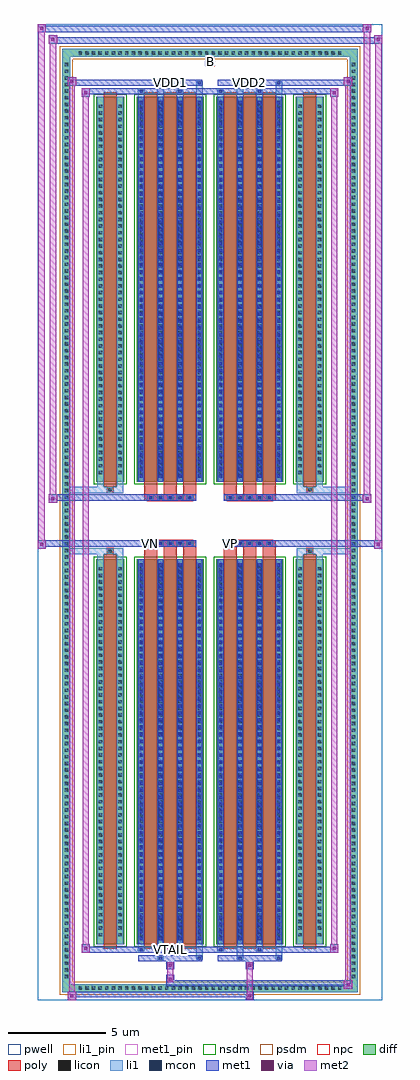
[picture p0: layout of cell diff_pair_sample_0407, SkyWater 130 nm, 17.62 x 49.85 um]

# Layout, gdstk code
import gdstk
lib = gdstk.Library(unit=1e-6, precision=5e-09)
def R(c, l, rs):  # rectangles x0, y0, x1, y1
    for r in rs: c.add(gdstk.rectangle(r[:2], r[2:], *l))
def A(c, l, x, y, w, h, nx, ny, dx, dy):  # array of equal rectangles
    R(c, l, [(x+i*dx, y+j*dy, x+i*dx+w, y+j*dy+h) for i in range(nx) for j in range(ny)])
def P(c, l, *ps):  # polygons
    for p in ps: c.add(gdstk.Polygon(p, *l))
pwell = (64, 44)
diff = (65, 20)
poly = (66, 20)
licon = (66, 44)
li1_pin = (67, 16)
li1 = (67, 20)
mcon = (67, 44)
met1_pin = (68, 16)
met1 = (68, 20)
via = (68, 44)
met2 = (69, 20)
nsdm = (93, 44)
psdm = (94, 20)
npc = (95, 20)

diff_pair_sample_0407 = lib.new_cell('diff_pair_sample_0407')
R(diff_pair_sample_0407, pwell, [(-8.81,-24.49,8.81,25.36), (-6.13,-22.68,-0.01,-0.8), (0.01,-22.68,6.13,-0.8), (-6.13,0.8,-0.01,22.68), (0.01,0.8,6.13,22.68)])
A(diff_pair_sample_0407, diff, -6.835, -24.09, 0.41, 0.41, 40, 2, 0.34, 47.77)
A(diff_pair_sample_0407, diff, -7.54, -23.495, 0.41, 0.41, 1, 138, 0, 0.34)
A(diff_pair_sample_0407, diff, 7.13, -23.495, 0.41, 0.41, 1, 138, 0, 0.34)
R(diff_pair_sample_0407, diff, [(-6.835,-24.09,6.835,-23.68), (-7.54,-23.495,-7.13,23.495), (7.13,-23.495,7.54,23.495), (-5.82,-21.635,-4.38,-1.985), (-3.74,-21.635,-0.32,-1.985), (0.32,-21.635,3.74,-1.985), (4.38,-21.635,5.82,-1.985), (-5.82,1.985,-4.38,21.635), (-3.74,1.985,-0.32,21.635), (0.32,1.985,3.74,21.635), (4.38,1.985,5.82,21.635), (-6.835,23.68,6.835,24.09)])
P(diff_pair_sample_0407, diff, [(7.54,24.09),(-7.54,24.09),(-7.54,-23.68),(-7.13,-23.68),(-7.13,23.68),(7.13,23.68),(7.13,-23.68),(-7.13,-23.68),(-7.54,-23.68),(-7.54,-24.09),(7.54,-24.09)])
A(diff_pair_sample_0407, poly, -3.35, -21.885, 0.66, 20.15, 3, 2, 0.99, 23.62)
A(diff_pair_sample_0407, poly, 0.71, -21.885, 0.66, 20.15, 3, 2, 0.99, 23.62)
A(diff_pair_sample_0407, poly, -3.35, -1.735, 0.66, 0.405, 3, 2, 0.99, 3.065)
A(diff_pair_sample_0407, poly, 0.71, -1.735, 0.66, 0.405, 3, 2, 0.99, 3.065)
A(diff_pair_sample_0407, poly, -3.195, -1.33, 0.33, 0.33, 5, 2, 0.5, 2.33)
A(diff_pair_sample_0407, poly, 0.865, -1.33, 0.33, 0.33, 5, 2, 0.5, 2.33)
R(diff_pair_sample_0407, poly, [(-5.43,-21.885,-4.77,-1.735), (4.77,-21.885,5.43,-1.735), (-5.265,-1.735,-4.935,-1.405), (-5.265,-1.735,-4.935,-1.405), (4.935,-1.735,5.265,-1.405), (4.935,-1.735,5.265,-1.405), (-3.35,-1.33,-0.71,-1), (0.71,-1.33,3.35,-1), (-3.35,1,-0.71,1.33), (0.71,1,3.35,1.33), (-5.265,1.405,-4.935,1.735), (-5.265,1.405,-4.935,1.735), (4.935,1.405,5.265,1.735), (4.935,1.405,5.265,1.735), (-5.43,1.735,-4.77,21.885), (4.77,1.735,5.43,21.885)])
A(diff_pair_sample_0407, licon, -6.715, -23.97, 0.17, 0.17, 40, 2, 0.34, 47.77)
A(diff_pair_sample_0407, licon, -7.42, -23.375, 0.17, 0.17, 1, 138, 0, 0.34)
A(diff_pair_sample_0407, licon, 7.25, -23.375, 0.17, 0.17, 1, 138, 0, 0.34)
A(diff_pair_sample_0407, licon, -5.68, -21.245, 0.17, 0.17, 1, 56, 0, 0.34)
A(diff_pair_sample_0407, licon, -4.69, -21.245, 0.17, 0.17, 1, 56, 0, 0.34)
A(diff_pair_sample_0407, licon, -3.6, -21.245, 0.17, 0.17, 4, 56, 0.99, 0.34)
A(diff_pair_sample_0407, licon, 0.46, -21.245, 0.17, 0.17, 4, 56, 0.99, 0.34)
A(diff_pair_sample_0407, licon, 4.52, -21.245, 0.17, 0.17, 1, 56, 0, 0.34)
A(diff_pair_sample_0407, licon, 5.51, -21.245, 0.17, 0.17, 1, 56, 0, 0.34)
A(diff_pair_sample_0407, licon, -3.115, -1.25, 0.17, 0.17, 5, 2, 0.5, 2.33)
A(diff_pair_sample_0407, licon, 0.945, -1.25, 0.17, 0.17, 5, 2, 0.5, 2.33)
A(diff_pair_sample_0407, licon, -5.68, 2.375, 0.17, 0.17, 1, 56, 0, 0.34)
A(diff_pair_sample_0407, licon, -4.69, 2.375, 0.17, 0.17, 1, 56, 0, 0.34)
A(diff_pair_sample_0407, licon, -3.6, 2.375, 0.17, 0.17, 4, 56, 0.99, 0.34)
A(diff_pair_sample_0407, licon, 0.46, 2.375, 0.17, 0.17, 4, 56, 0.99, 0.34)
A(diff_pair_sample_0407, licon, 4.52, 2.375, 0.17, 0.17, 1, 56, 0, 0.34)
A(diff_pair_sample_0407, licon, 5.51, 2.375, 0.17, 0.17, 1, 56, 0, 0.34)
R(diff_pair_sample_0407, licon, [(-5.185,-1.655,-5.015,-1.485), (5.015,-1.655,5.185,-1.485), (-5.185,1.485,-5.015,1.655), (5.015,1.485,5.185,1.655)])
R(diff_pair_sample_0407, li1_pin, [(-0.25,23.18,0.25,23.68)])
A(diff_pair_sample_0407, li1, -6.795, -24.05, 0.33, 0.33, 40, 2, 0.34, 47.77)
A(diff_pair_sample_0407, li1, -7.5, -23.455, 0.33, 0.33, 1, 138, 0, 0.34)
A(diff_pair_sample_0407, li1, 7.17, -23.455, 0.33, 0.33, 1, 138, 0, 0.34)
A(diff_pair_sample_0407, li1, -3.68, -21.635, 0.33, 19.65, 4, 2, 0.99, 23.62)
A(diff_pair_sample_0407, li1, 0.38, -21.635, 0.33, 19.65, 4, 2, 0.99, 23.62)
A(diff_pair_sample_0407, li1, -3.6, -21.435, 0.17, 0.17, 4, 54, 0.99, 0.36)
A(diff_pair_sample_0407, li1, -3.6, -21.435, 0.17, 19.25, 4, 2, 0.99, 23.62)
A(diff_pair_sample_0407, li1, 0.46, -21.435, 0.17, 0.17, 4, 54, 0.99, 0.36)
A(diff_pair_sample_0407, li1, 0.46, -21.435, 0.17, 19.25, 4, 2, 0.99, 23.62)
A(diff_pair_sample_0407, li1, -5.76, -21.325, 0.33, 0.33, 1, 56, 0, 0.34)
A(diff_pair_sample_0407, li1, -4.77, -21.325, 0.33, 0.33, 1, 56, 0, 0.34)
A(diff_pair_sample_0407, li1, -3.68, -21.325, 0.33, 0.33, 4, 56, 0.99, 0.34)
A(diff_pair_sample_0407, li1, 0.38, -21.325, 0.33, 0.33, 4, 56, 0.99, 0.34)
A(diff_pair_sample_0407, li1, 4.44, -21.325, 0.33, 0.33, 1, 56, 0, 0.34)
A(diff_pair_sample_0407, li1, 5.43, -21.325, 0.33, 0.33, 1, 56, 0, 0.34)
A(diff_pair_sample_0407, li1, -3.195, -1.33, 0.33, 0.33, 5, 2, 0.5, 2.33)
A(diff_pair_sample_0407, li1, 0.865, -1.33, 0.33, 0.33, 5, 2, 0.5, 2.33)
A(diff_pair_sample_0407, li1, -3.6, 2.185, 0.17, 0.17, 4, 54, 0.99, 0.36)
A(diff_pair_sample_0407, li1, 0.46, 2.185, 0.17, 0.17, 4, 54, 0.99, 0.36)
A(diff_pair_sample_0407, li1, -5.76, 2.295, 0.33, 0.33, 1, 56, 0, 0.34)
A(diff_pair_sample_0407, li1, -4.77, 2.295, 0.33, 0.33, 1, 56, 0, 0.34)
A(diff_pair_sample_0407, li1, -3.68, 2.295, 0.33, 0.33, 4, 56, 0.99, 0.34)
A(diff_pair_sample_0407, li1, 0.38, 2.295, 0.33, 0.33, 4, 56, 0.99, 0.34)
A(diff_pair_sample_0407, li1, 4.44, 2.295, 0.33, 0.33, 1, 56, 0, 0.34)
A(diff_pair_sample_0407, li1, 5.43, 2.295, 0.33, 0.33, 1, 56, 0, 0.34)
R(diff_pair_sample_0407, li1, [(-7.54,-24.09,-7.13,-23.68), (-7.54,-24.09,-7.13,-23.68), (-7.13,-24.09,7.13,-23.68), (7.13,-24.09,7.54,-23.68), (7.13,-24.09,7.54,-23.68), (-7.54,-23.68,-7.13,23.68), (7.13,-23.68,7.54,23.68), (-2.69,-22.44,-2.36,-21.635), (-2.61,-22.44,-2.44,-22.27), (-0.71,-22.44,-0.38,-21.635), (-0.63,-22.44,-0.46,-22.27), (1.37,-22.44,1.7,-21.635), (1.45,-22.44,1.62,-22.27), (3.35,-22.44,3.68,-21.635), (3.43,-22.44,3.6,-22.27), (-3.68,-22.01,-3.35,-21.635), (-3.6,-22.01,-3.43,-21.84), (-1.7,-22.01,-1.37,-21.635), (-1.62,-22.01,-1.45,-21.84), (0.38,-22.01,0.71,-21.635), (0.46,-22.01,0.63,-21.84), (2.36,-22.01,2.69,-21.635), (2.44,-22.01,2.61,-21.84), (-5.76,-21.635,-5.43,-1.985), (-4.77,-21.635,-4.44,-1.985), (4.44,-21.635,4.77,-1.985), (5.43,-21.635,5.76,-1.985), (-5.76,-1.985,-5.43,-1.405), (-4.77,-1.985,-4.44,-1.405), (4.44,-1.985,4.77,-1.405), (5.43,-1.985,5.76,-1.405), (-7.54,-1.735,-5.265,-1.405), (-5.76,-1.735,-5.265,-1.405), (-5.265,-1.735,-4.935,-1.405), (-4.935,-1.735,-4.44,-1.405), (4.44,-1.735,4.935,-1.405), (4.935,-1.735,5.265,-1.405), (4.935,-1.735,7.54,-1.405), (5.265,-1.735,5.76,-1.405), (-7.54,1.405,-5.265,1.735), (-5.76,1.405,-5.265,1.735), (-5.76,1.405,-5.43,1.985), (-5.265,1.405,-4.935,1.735), (-4.935,1.405,-4.44,1.735), (-4.77,1.405,-4.44,1.985), (4.44,1.405,4.935,1.735), (4.44,1.405,4.77,1.985), (4.935,1.405,5.265,1.735), (4.935,1.405,7.54,1.735), (5.265,1.405,5.76,1.735), (5.43,1.405,5.76,1.985), (-5.76,1.985,-5.43,21.635), (-4.77,1.985,-4.44,21.635), (4.44,1.985,4.77,21.635), (5.43,1.985,5.76,21.635), (-3.68,21.635,-3.35,22.01), (-2.69,21.635,-2.36,22.44), (-1.7,21.635,-1.37,22.01), (-0.71,21.635,-0.38,22.44), (0.38,21.635,0.71,22.01), (1.37,21.635,1.7,22.44), (2.36,21.635,2.69,22.01), (3.35,21.635,3.68,22.44), (-3.6,21.84,-3.43,22.01), (-1.62,21.84,-1.45,22.01), (0.46,21.84,0.63,22.01), (2.44,21.84,2.61,22.01), (-2.61,22.27,-2.44,22.44), (-0.63,22.27,-0.46,22.44), (1.45,22.27,1.62,22.44), (3.43,22.27,3.6,22.44), (-7.54,23.68,-7.13,24.09), (-7.54,23.68,-7.13,24.09), (-7.13,23.68,7.13,24.09), (7.13,23.68,7.54,24.09), (7.13,23.68,7.54,24.09)])
A(diff_pair_sample_0407, mcon, -3.6, -21.435, 0.17, 0.17, 4, 54, 0.99, 0.36)
A(diff_pair_sample_0407, mcon, 0.46, -21.435, 0.17, 0.17, 4, 54, 0.99, 0.36)
A(diff_pair_sample_0407, mcon, -3.115, -1.25, 0.17, 0.17, 5, 2, 0.5, 2.33)
A(diff_pair_sample_0407, mcon, 0.945, -1.25, 0.17, 0.17, 5, 2, 0.5, 2.33)
A(diff_pair_sample_0407, mcon, -3.6, 2.185, 0.17, 0.17, 4, 54, 0.99, 0.36)
A(diff_pair_sample_0407, mcon, 0.46, 2.185, 0.17, 0.17, 4, 54, 0.99, 0.36)
R(diff_pair_sample_0407, mcon, [(-2.61,-22.44,-2.44,-22.27), (-0.63,-22.44,-0.46,-22.27), (1.45,-22.44,1.62,-22.27), (3.43,-22.44,3.6,-22.27), (-3.6,-22.01,-3.43,-21.84), (-1.62,-22.01,-1.45,-21.84), (0.46,-22.01,0.63,-21.84), (2.44,-22.01,2.61,-21.84), (-3.6,21.84,-3.43,22.01), (-1.62,21.84,-1.45,22.01), (0.46,21.84,0.63,22.01), (2.44,21.84,2.61,22.01), (-2.61,22.27,-2.44,22.44), (-0.63,22.27,-0.46,22.44), (1.45,22.27,1.62,22.44), (3.43,22.27,3.6,22.44)])
R(diff_pair_sample_0407, met1_pin, [(-2.165,-22.05,-1.895,-21.78), (-3.165,-1.29,-2.895,-1.02), (0.895,-1.29,1.165,-1.02), (-2.165,22.23,-1.895,22.5), (1.895,22.23,2.165,22.5)])
A(diff_pair_sample_0407, met1, -3.66, -21.635, 0.29, 19.65, 4, 2, 0.99, 23.62)
A(diff_pair_sample_0407, met1, 0.4, -21.635, 0.29, 19.65, 4, 2, 0.99, 23.62)
A(diff_pair_sample_0407, met1, -3.66, -21.495, 0.29, 0.29, 4, 54, 0.99, 0.36)
A(diff_pair_sample_0407, met1, 0.4, -21.495, 0.29, 0.29, 4, 54, 0.99, 0.36)
A(diff_pair_sample_0407, met1, -3.175, -1.31, 0.29, 0.29, 5, 2, 0.5, 2.33)
A(diff_pair_sample_0407, met1, 0.885, -1.31, 0.29, 0.29, 5, 2, 0.5, 2.33)
A(diff_pair_sample_0407, met1, -3.66, 2.125, 0.29, 0.29, 4, 54, 0.99, 0.36)
A(diff_pair_sample_0407, met1, 0.4, 2.125, 0.29, 0.29, 4, 54, 0.99, 0.36)
R(diff_pair_sample_0407, met1, [(-7.27,-24.49,-6.84,-24.06), (1.815,-24.49,2.245,-24.06), (-7.27,-24.35,2.245,-24.06), (6.84,-23.92,7.27,-23.49), (-2.245,-23.78,7.27,-23.49), (-2.245,-23.64,-1.815,-23.21), (-2.245,-22.93,-1.815,-22.5), (1.815,-22.93,2.245,-22.5), (-3.66,-22.5,-0.4,-22.21), (-2.67,-22.5,-2.38,-22.21), (-0.69,-22.5,-0.4,-22.21), (0.4,-22.5,3.66,-22.21), (1.39,-22.5,1.68,-22.21), (3.37,-22.5,3.66,-22.21), (-6.56,-22.07,-6.13,-21.64), (-6.56,-22.07,-3.66,-21.78), (-3.66,-22.07,-3.37,-21.78), (-3.66,-22.07,-0.4,-21.78), (-1.68,-22.07,-1.39,-21.78), (-0.4,-22.07,0.4,-21.78), (0.4,-22.07,0.69,-21.78), (0.4,-22.07,3.66,-21.78), (2.38,-22.07,2.67,-21.78), (3.66,-22.07,6.56,-21.78), (6.13,-22.07,6.56,-21.64), (-8.81,-1.43,-8.38,-1), (8.38,-1.43,8.81,-1), (-8.81,-1.33,-0.71,-1), (-3.35,-1.33,-0.71,-1), (0.71,-1.33,3.35,-1), (0.71,-1.33,8.81,-1), (-8.24,0.9,-7.81,1.33), (7.81,0.9,8.24,1.33), (-8.24,1,-3.35,1.33), (-3.35,1,-0.71,1.33), (0.71,1,3.35,1.33), (3.35,1,8.24,1.33), (-6.56,21.64,-6.13,22.07), (6.13,21.64,6.56,22.07), (-6.56,21.78,-3.66,22.07), (-3.66,21.78,-3.37,22.07), (-3.66,21.78,-0.4,22.07), (-1.68,21.78,-1.39,22.07), (-0.4,21.78,0.4,22.07), (0.4,21.78,0.69,22.07), (0.4,21.78,3.66,22.07), (2.38,21.78,2.67,22.07), (3.66,21.78,6.56,22.07), (-7.27,22.21,-6.84,22.64), (-7.27,22.21,-3.66,22.5), (-3.66,22.21,-0.4,22.5), (-2.67,22.21,-2.38,22.5), (-0.69,22.21,-0.4,22.5), (0.4,22.21,3.66,22.5), (1.39,22.21,1.68,22.5), (3.37,22.21,3.66,22.5), (3.66,22.21,7.27,22.5), (6.84,22.21,7.27,22.64), (-8.24,24.36,-7.81,24.79), (-8.24,24.36,-6.13,24.69), (-6.13,24.36,6.13,24.69), (6.13,24.36,8.81,24.69), (8.38,24.36,8.81,24.79), (-8.81,24.93,-8.38,25.36), (-8.81,24.93,-6.13,25.26), (-6.13,24.93,6.13,25.26), (6.13,24.93,8.24,25.26), (7.81,24.93,8.24,25.36)])
R(diff_pair_sample_0407, via, [(-7.13,-24.35,-6.98,-24.2), (1.955,-24.35,2.105,-24.2), (6.98,-23.78,7.13,-23.63), (-2.105,-23.5,-1.955,-23.35), (-2.105,-22.79,-1.955,-22.64), (1.955,-22.79,2.105,-22.64), (-6.42,-21.93,-6.27,-21.78), (6.27,-21.93,6.42,-21.78), (-8.67,-1.29,-8.52,-1.14), (8.52,-1.29,8.67,-1.14), (-8.1,1.04,-7.95,1.19), (7.95,1.04,8.1,1.19), (-6.42,21.78,-6.27,21.93), (6.27,21.78,6.42,21.93), (-7.13,22.35,-6.98,22.5), (6.98,22.35,7.13,22.5), (-8.1,24.5,-7.95,24.65), (8.52,24.5,8.67,24.65), (-8.67,25.07,-8.52,25.22), (7.95,25.07,8.1,25.22)])
R(diff_pair_sample_0407, met2, [(-7.27,-24.49,-6.84,-24.06), (-7.2,-24.49,-6.91,22.64), (-6.91,-24.49,-6.84,-24.06), (-7.22,-24.44,-6.89,-24.11), (1.865,-24.44,2.195,-24.11), (1.865,-24.11,2.195,-22.88), (6.84,-23.92,7.27,-23.49), (6.91,-23.92,7.2,22.64), (7.2,-23.92,7.27,-23.49), (6.89,-23.87,7.22,-23.54), (-2.195,-23.59,-1.865,-23.26), (-2.195,-23.26,-1.865,-22.88), (-2.195,-22.88,-1.865,-22.55), (1.865,-22.88,2.195,-22.55), (-6.56,-22.07,-6.13,-21.64), (-6.49,-22.07,-6.2,22.07), (-6.2,-22.07,-6.13,-21.64), (6.13,-22.07,6.56,-21.64), (6.2,-22.07,6.49,22.07), (6.49,-22.07,6.56,-21.64), (-6.51,-22.02,-6.18,-21.69), (6.18,-22.02,6.51,-21.69), (-8.81,-1.43,-8.38,-1), (-8.76,-1.43,-8.43,25.36), (-8.43,-1.43,-8.38,-1), (8.38,-1.43,8.81,-1), (8.43,-1.43,8.76,24.79), (8.76,-1.43,8.81,-1), (-8.76,-1.38,-8.43,-1.05), (8.43,-1.38,8.76,-1.05), (-8.24,0.9,-7.81,1.33), (-8.19,0.9,-7.86,24.79), (-7.86,0.9,-7.81,1.33), (7.81,0.9,8.24,1.33), (7.86,0.9,8.19,25.36), (8.19,0.9,8.24,1.33), (-8.19,0.95,-7.86,1.28), (7.86,0.95,8.19,1.28), (-6.56,21.64,-6.13,22.07), (-6.2,21.64,-6.13,22.07), (6.13,21.64,6.56,22.07), (6.49,21.64,6.56,22.07), (-6.51,21.69,-6.18,22.02), (6.18,21.69,6.51,22.02), (-7.27,22.21,-6.84,22.64), (-6.91,22.21,-6.84,22.64), (6.84,22.21,7.27,22.64), (7.2,22.21,7.27,22.64), (-7.22,22.26,-6.89,22.59), (6.89,22.26,7.22,22.59), (-8.24,24.36,-7.81,24.79), (-7.86,24.36,-7.81,24.79), (8.38,24.36,8.81,24.79), (8.76,24.36,8.81,24.79), (-8.19,24.41,-7.86,24.74), (8.43,24.41,8.76,24.74), (-8.81,24.93,-8.38,25.36), (-8.43,24.93,-8.38,25.36), (7.81,24.93,8.24,25.36), (8.19,24.93,8.24,25.36), (-8.76,24.98,-8.43,25.31), (7.86,24.98,8.19,25.31)])
R(diff_pair_sample_0407, nsdm, [(-5.95,-21.765,-4.25,-1.855), (-3.87,-21.765,-0.19,-1.855), (0.19,-21.765,3.87,-1.855), (4.25,-21.765,5.95,-1.855), (-5.95,1.855,-4.25,21.765), (-3.87,1.855,-0.19,21.765), (0.19,1.855,3.87,21.765), (4.25,1.855,5.95,21.765)])
P(diff_pair_sample_0407, psdm, [(7.67,24.22),(-7.67,24.22),(-7.67,-23.55),(-7,-23.55),(-7,23.55),(7,23.55),(7,-23.55),(-7,-23.55),(-7.67,-23.55),(-7.67,-24.22),(7.67,-24.22)])
A(diff_pair_sample_0407, npc, -3.215, -1.35, 0.37, 0.37, 5, 2, 0.5, 2.33)
A(diff_pair_sample_0407, npc, 0.845, -1.35, 0.37, 0.37, 5, 2, 0.5, 2.33)
R(diff_pair_sample_0407, npc, [(-5.285,-1.755,-4.915,-1.385), (4.915,-1.755,5.285,-1.385), (-3.215,-1.35,-2.345,-0.98), (-3.215,-1.35,-2.345,-0.98), (-2.715,-1.35,-1.845,-0.98), (-2.715,-1.35,-1.845,-0.98), (-2.215,-1.35,-1.345,-0.98), (-2.215,-1.35,-1.345,-0.98), (-1.715,-1.35,-0.845,-0.98), (-1.715,-1.35,-0.845,-0.98), (0.845,-1.35,1.715,-0.98), (0.845,-1.35,1.715,-0.98), (1.345,-1.35,2.215,-0.98), (1.345,-1.35,2.215,-0.98), (1.845,-1.35,2.715,-0.98), (1.845,-1.35,2.715,-0.98), (2.345,-1.35,3.215,-0.98), (2.345,-1.35,3.215,-0.98), (-3.215,0.98,-2.345,1.35), (-3.215,0.98,-2.345,1.35), (-2.715,0.98,-1.845,1.35), (-2.715,0.98,-1.845,1.35), (-2.215,0.98,-1.345,1.35), (-2.215,0.98,-1.345,1.35), (-1.715,0.98,-0.845,1.35), (-1.715,0.98,-0.845,1.35), (0.845,0.98,1.715,1.35), (0.845,0.98,1.715,1.35), (1.345,0.98,2.215,1.35), (1.345,0.98,2.215,1.35), (1.845,0.98,2.715,1.35), (1.845,0.98,2.715,1.35), (2.345,0.98,3.215,1.35), (2.345,0.98,3.215,1.35), (-5.285,1.385,-4.915,1.755), (4.915,1.385,5.285,1.755)])
diff_pair_sample_0407.add(gdstk.Label('VTAIL', (-2.03,-21.915), layer=68, texttype=5))
diff_pair_sample_0407.add(gdstk.Label('VN', (-3.03,-1.155), layer=68, texttype=5))
diff_pair_sample_0407.add(gdstk.Label('VP', (1.03,-1.155), layer=68, texttype=5))
diff_pair_sample_0407.add(gdstk.Label('B', (0,23.43), layer=67, texttype=5))
diff_pair_sample_0407.add(gdstk.Label('VDD2', (2.03,22.365), layer=68, texttype=5))
diff_pair_sample_0407.add(gdstk.Label('VDD1', (-2.03,22.365), layer=68, texttype=5))

lib.write_gds('diff_pair_sample_0407.gds')
